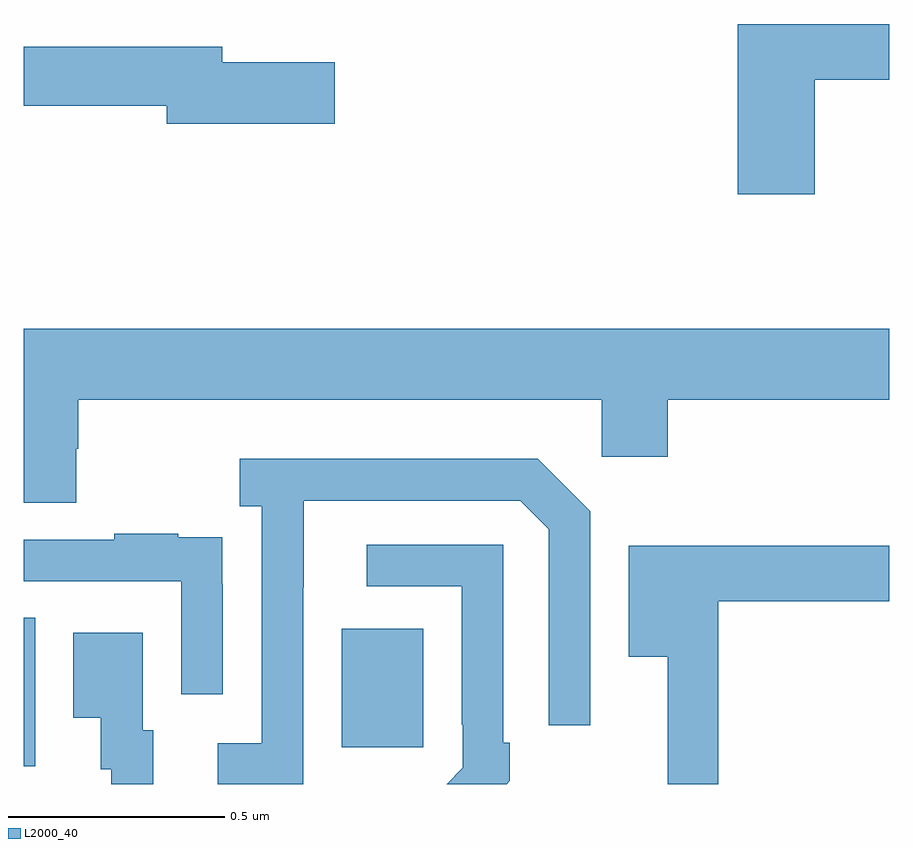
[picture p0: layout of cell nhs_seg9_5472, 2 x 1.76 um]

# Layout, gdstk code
import gdstk
lib = gdstk.Library(unit=1e-6, precision=1e-09)
def R(c, l, rs):  # rectangles x0, y0, x1, y1
    for r in rs: c.add(gdstk.rectangle(r[:2], r[2:], *l))
def P(c, l, *ps):  # polygons
    for p in ps: c.add(gdstk.Polygon(p, *l))
L2000_40 = (2000, 40)

nhs_seg9_5472 = lib.new_cell('nhs_seg9_5472')
R(nhs_seg9_5472, L2000_40, [(179,1227.541,179.026,1227.884), (179.735,1227.585,179.923,1227.859)])
P(nhs_seg9_5472, L2000_40, [(180.828,1229.128),(181,1229.128),(181,1229.257),(180.65,1229.257),(180.65,1228.863),(180.828,1228.863)],
  [(179.719,1229.168),(179.458,1229.168),(179.458,1229.204),(179,1229.204),(179,1229.068),(179.33,1229.068),(179.33,1229.026),(179.719,1229.026)],
  [(179.121,1228.275),(179.126,1228.275),(179.126,1228.388),(180.336,1228.388),(180.336,1228.257),(180.488,1228.257),(180.488,1228.388),(181,1228.388),(181,1228.552),(179,1228.552),(179,1228.15),(179.121,1228.15)],
  [(179.646,1227.955),(179.647,1227.955),(179.647,1228.155),(180.147,1228.155),(180.213,1228.089),(180.213,1227.636),(180.309,1227.636),(180.309,1228.131),(180.188,1228.252),(179.499,1228.252),(179.499,1228.142),(179.55,1228.142),(179.55,1227.594),(179.448,1227.594),(179.448,1227.5),(179.646,1227.5)],
  [(179.46,1227.962),(179.459,1227.962),(179.459,1228.071),(179.357,1228.071),(179.357,1228.078),(179.209,1228.078),(179.209,1228.065),(179,1228.065),(179,1227.969),(179.364,1227.969),(179.364,1227.708),(179.46,1227.708)],
  [(180.123,1227.507),(180.123,1227.595),(180.108,1227.595),(180.108,1228.053),(179.793,1228.053),(179.793,1227.957),(180.012,1227.957),(180.012,1227.637),(180.015,1227.637),(180.015,1227.537),(179.978,1227.5),(180.116,1227.5)],
  [(180.605,1227.922),(181,1227.922),(181,1228.051),(180.398,1228.051),(180.398,1227.794),(180.488,1227.794),(180.488,1227.5),(180.605,1227.5)],
  [(179.299,1227.624),(179.275,1227.624),(179.275,1227.85),(179.114,1227.85),(179.114,1227.653),(179.177,1227.653),(179.177,1227.534),(179.202,1227.534),(179.202,1227.5),(179.299,1227.5)])

lib.write_gds('nhs_seg9_5472.gds')
